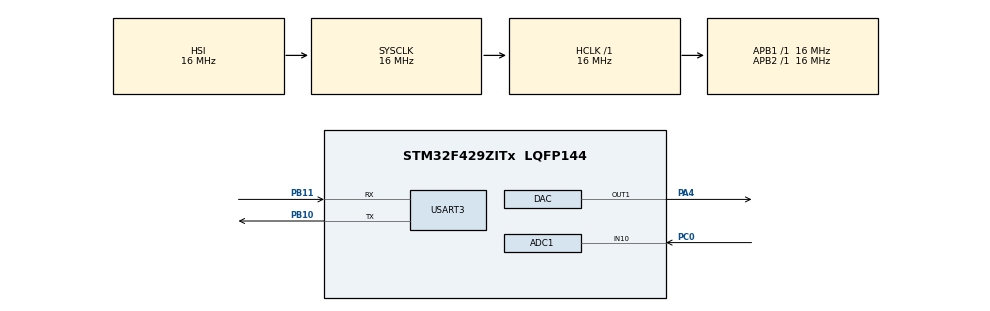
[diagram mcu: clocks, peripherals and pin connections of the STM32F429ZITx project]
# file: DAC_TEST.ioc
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ADC1.Channel-0\#ChannelRegularConversion=ADC_CHANNEL_10
ADC1.NbrOfConversionFlag=1
ADC1.Rank-0\#ChannelRegularConversion=1
ADC1.SamplingTime-0\#ChannelRegularConversion=ADC_SAMPLETIME_3CYCLES
ADC1.master=1
Mcu.Family=STM32F4
Mcu.Name=STM32F429ZITx
Mcu.Package=LQFP144
NVIC.ADC_IRQn=true\:0\:0\:false\:false\:true\:true\:true\:true
NVIC.PriorityGroup=NVIC_PRIORITYGROUP_4
NVIC.USART3_IRQn=true\:0\:0\:false\:false\:true\:true\:true\:true
PA4.Signal=COMP_DAC1_group
PB10.Mode=Asynchronous
PB10.Signal=USART3_TX
PB11.Mode=Asynchronous
PB11.Signal=USART3_RX
PC0.Signal=ADCx_IN10
ProjectManager.HeapSize=0x200
ProjectManager.StackSize=0x400
ProjectManager.TargetToolchain=STM32CubeIDE
RCC.AHBFreq_Value=16000000
RCC.APB1Freq_Value=16000000
RCC.APB2Freq_Value=16000000
RCC.CortexFreq_Value=16000000
RCC.HSE_VALUE=25000000
RCC.HSI_VALUE=16000000
RCC.LSE_VALUE=32768
RCC.SYSCLKFreq_VALUE=16000000
RCC.VCOOutputFreq_Value=192000000
SH.ADCx_IN10.0=ADC1_IN10,IN10
SH.COMP_DAC1_group.0=DAC_OUT1,DAC_OUT1
USART3.VirtualMode=VM_ASYNC
board=custom

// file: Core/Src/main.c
/* USER CODE BEGIN Header */
/**
  ******************************************************************************
  * @file           : main.c
  * @brief          : Main program body
  ******************************************************************************
  * @attention
  *
  * Copyright (c) 2023 STMicroelectronics.
  * All rights reserved.
  *
  * This software is licensed under terms that can be found in the LICENSE file
  * in the root directory of this software component.
  * If no LICENSE file comes with this software, it is provided AS-IS.
  *
  ******************************************************************************
  */
/* USER CODE END Header */
#include "main.h"

ADC_HandleTypeDef hadc1;

DAC_HandleTypeDef hdac;

UART_HandleTypeDef huart3;

int dac_value = 0;
int adc_value = 0;

void SystemClock_Config(void);
static void MX_GPIO_Init(void);
static void MX_ADC1_Init(void);
static void MX_DAC_Init(void);
static void MX_USART3_UART_Init(void);

/* USER CODE BEGIN 0 */

int _write(int file, char *ptr, int len)
{
	HAL_UART_Transmit(&huart3, (uint8_t *)ptr, len, 500); //문자열을 보내는 것. 문자열의 주소를 받아서 문자열의 길이까지 같이 들어옴.

	return len;
}
int __io_putchar(int ch)
{
	HAL_UART_Transmit(&huart3, (uint8_t *)&ch, 1, 1000); //문자 하나를 보내는 것.
	return ch;
}

void HAL_ADC_ConvCpltCallback(ADC_HandleTypeDef* hadc)
{
	if(hadc -> Instance == ADC1)
	{
		adc_value = HAL_ADC_GetValue(&hadc1);
	}
}

/* USER CODE END 0 */

int main(void)
{

  /* MCU Configuration--------------------------------------------------------*/

  /* Reset of all peripherals, Initializes the Flash interface and the Systick. */
  HAL_Init();

  /* Configure the system clock */
  SystemClock_Config();

  /* Initialize all configured peripherals */
  MX_GPIO_Init();
  MX_ADC1_Init();
  MX_DAC_Init();
  MX_USART3_UART_Init();
  /* USER CODE BEGIN 2 */
  HAL_DAC_Start(&hdac, DAC_CHANNEL_1);
  /* USER CODE END 2 */

  /* Infinite loop */
  while (1)
  {

    /* USER CODE BEGIN 3 */
	  //가변저항의 값을 인터럽트로 발생될 때 마다 adc_value를 저장해서 아날로그 값을 12비트로 디지털 값으로 받기.
	  HAL_ADC_Start_IT(&hadc1);

	  HAL_DAC_SetValue(&hdac, DAC_CHANNEL_1, DAC_ALIGN_12B_R, adc_value);

	  if(dac_value < 4095) //
	  {
		  dac_value++;
	  }
	  else
	  {
		  dac_value = 0;
	  }
	  HAL_GPIO_TogglePin(GPIOA, GPIO_PIN_4);
	  printf("value : %d", adc_value);
	  HAL_Delay(1);
  }
  /* USER CODE END 3 */
}

void SystemClock_Config(void)
{
  RCC_OscInitTypeDef RCC_OscInitStruct = {0};
  RCC_ClkInitTypeDef RCC_ClkInitStruct = {0};

  /** Configure the main internal regulator output voltage
  */
  __HAL_RCC_PWR_CLK_ENABLE();
  __HAL_PWR_VOLTAGESCALING_CONFIG(PWR_REGULATOR_VOLTAGE_SCALE3);

  /** Initializes the RCC Oscillators according to the specified parameters
  * in the RCC_OscInitTypeDef structure.
  */
  RCC_OscInitStruct.OscillatorType = RCC_OSCILLATORTYPE_HSI;
  RCC_OscInitStruct.HSIState = RCC_HSI_ON;
  RCC_OscInitStruct.HSICalibrationValue = RCC_HSICALIBRATION_DEFAULT;
  RCC_OscInitStruct.PLL.PLLState = RCC_PLL_NONE;
  if (HAL_RCC_OscConfig(&RCC_OscInitStruct) != HAL_OK)
  {
    Error_Handler();
  }

  /** Initializes the CPU, AHB and APB buses clocks
  */
  RCC_ClkInitStruct.ClockType = RCC_CLOCKTYPE_HCLK|RCC_CLOCKTYPE_SYSCLK
                              |RCC_CLOCKTYPE_PCLK1|RCC_CLOCKTYPE_PCLK2;
  RCC_ClkInitStruct.SYSCLKSource = RCC_SYSCLKSOURCE_HSI;
  RCC_ClkInitStruct.AHBCLKDivider = RCC_SYSCLK_DIV1;
  RCC_ClkInitStruct.APB1CLKDivider = RCC_HCLK_DIV1;
  RCC_ClkInitStruct.APB2CLKDivider = RCC_HCLK_DIV1;

  if (HAL_RCC_ClockConfig(&RCC_ClkInitStruct, FLASH_LATENCY_0) != HAL_OK)
  {
    Error_Handler();
  }
}

static void MX_ADC1_Init(void)
{

  ADC_ChannelConfTypeDef sConfig = {0};

  /** Configure the global features of the ADC (Clock, Resolution, Data Alignment and number of conversion)
  */
  hadc1.Instance = ADC1;
  hadc1.Init.ClockPrescaler = ADC_CLOCK_SYNC_PCLK_DIV2;
  hadc1.Init.Resolution = ADC_RESOLUTION_12B;
  hadc1.Init.ScanConvMode = DISABLE;
  hadc1.Init.ContinuousConvMode = DISABLE;
  hadc1.Init.DiscontinuousConvMode = DISABLE;
  hadc1.Init.ExternalTrigConvEdge = ADC_EXTERNALTRIGCONVEDGE_NONE;
  hadc1.Init.ExternalTrigConv = ADC_SOFTWARE_START;
  hadc1.Init.DataAlign = ADC_DATAALIGN_RIGHT;
  hadc1.Init.NbrOfConversion = 1;
  hadc1.Init.DMAContinuousRequests = DISABLE;
  hadc1.Init.EOCSelection = ADC_EOC_SINGLE_CONV;
  if (HAL_ADC_Init(&hadc1) != HAL_OK)
  {
    Error_Handler();
  }

  /** Configure for the selected ADC regular channel its corresponding rank in the sequencer and its sample time.
  */
  sConfig.Channel = ADC_CHANNEL_10;
  sConfig.Rank = 1;
  sConfig.SamplingTime = ADC_SAMPLETIME_3CYCLES;
  if (HAL_ADC_ConfigChannel(&hadc1, &sConfig) != HAL_OK)
  {
    Error_Handler();
  }

}

static void MX_DAC_Init(void)
{

  DAC_ChannelConfTypeDef sConfig = {0};

  /** DAC Initialization
  */
  hdac.Instance = DAC;
  if (HAL_DAC_Init(&hdac) != HAL_OK)
  {
    Error_Handler();
  }

  /** DAC channel OUT1 config
  */
  sConfig.DAC_Trigger = DAC_TRIGGER_NONE;
  sConfig.DAC_OutputBuffer = DAC_OUTPUTBUFFER_ENABLE;
  if (HAL_DAC_ConfigChannel(&hdac, &sConfig, DAC_CHANNEL_1) != HAL_OK)
  {
    Error_Handler();
  }

}

static void MX_USART3_UART_Init(void)
{

  huart3.Instance = USART3;
  huart3.Init.BaudRate = 115200;
  huart3.Init.WordLength = UART_WORDLENGTH_8B;
  huart3.Init.StopBits = UART_STOPBITS_1;
  huart3.Init.Parity = UART_PARITY_NONE;
  huart3.Init.Mode = UART_MODE_TX_RX;
  huart3.Init.HwFlowCtl = UART_HWCONTROL_NONE;
  huart3.Init.OverSampling = UART_OVERSAMPLING_16;
  if (HAL_UART_Init(&huart3) != HAL_OK)
  {
    Error_Handler();
  }

}

static void MX_GPIO_Init(void)
{

  /* GPIO Ports Clock Enable */
  __HAL_RCC_GPIOC_CLK_ENABLE();
  __HAL_RCC_GPIOA_CLK_ENABLE();
  __HAL_RCC_GPIOB_CLK_ENABLE();

}

void Error_Handler(void)
{
  __disable_irq();
  while (1)
  {
  }
}
